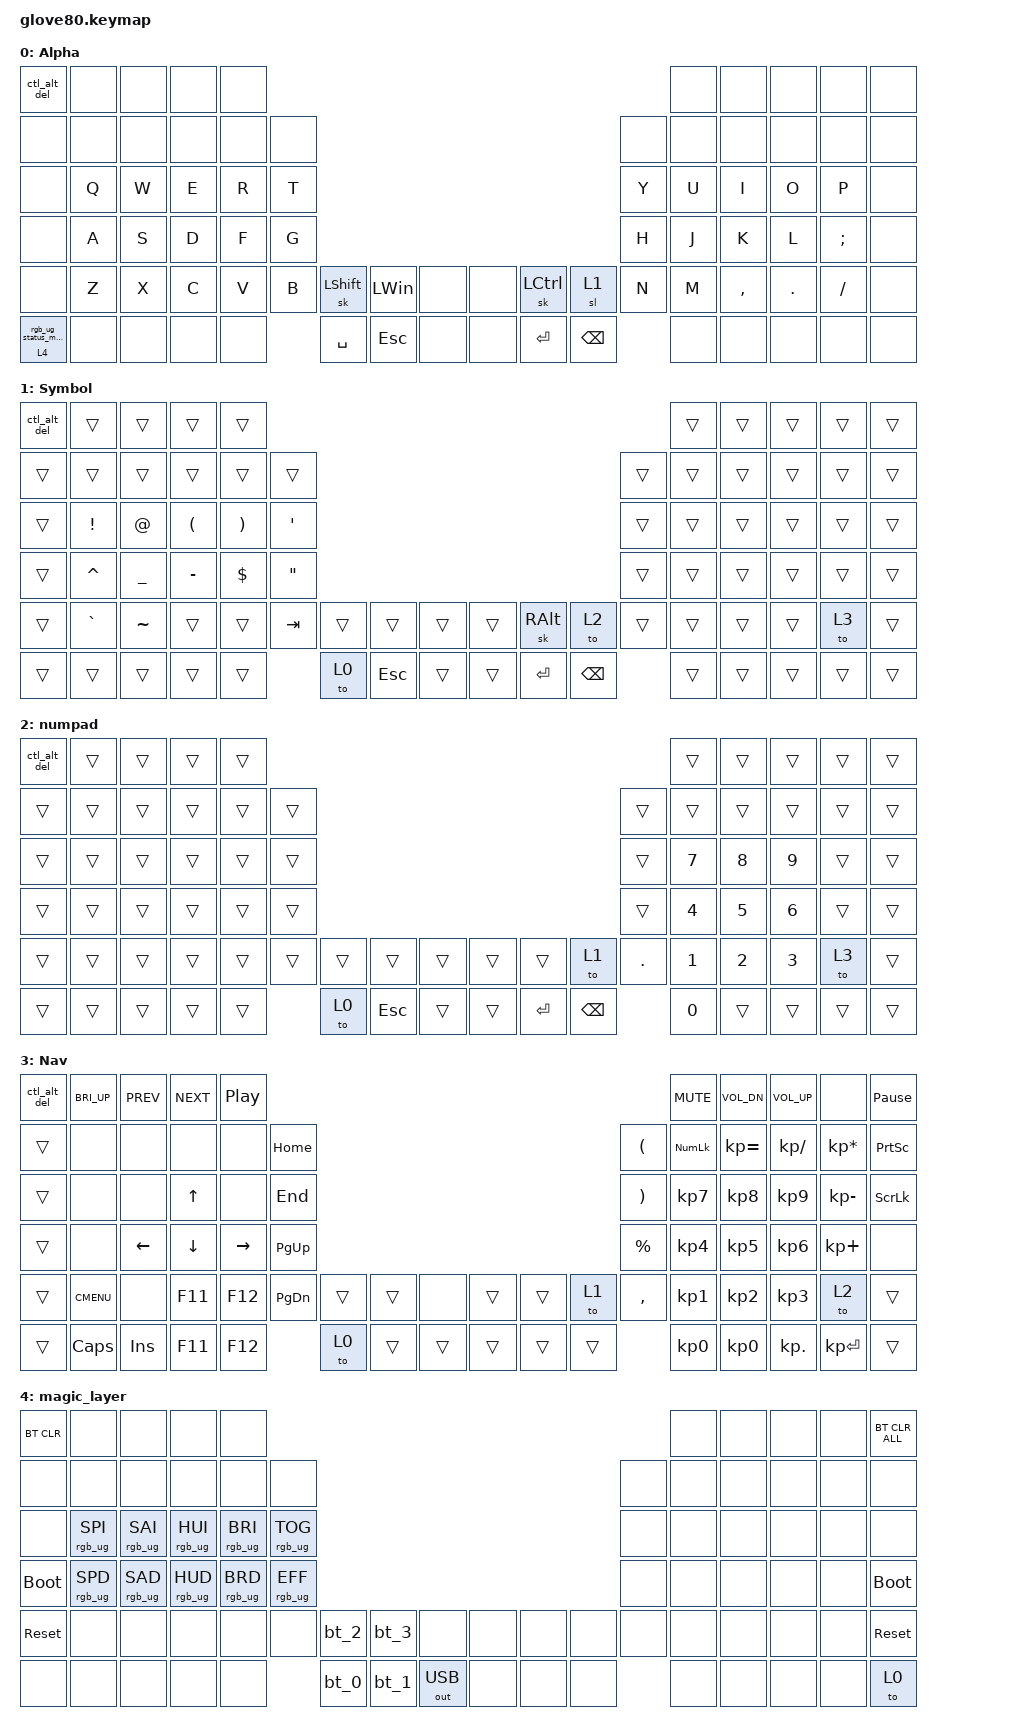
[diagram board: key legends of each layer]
/*
 * Copyright (c) 2020 The ZMK Contributors
 *
 * SPDX-License-Identifier: MIT
 */

#include <behaviors.dtsi>
#include <dt-bindings/zmk/bt.h>
#include <dt-bindings/zmk/keys.h>
#include <dt-bindings/zmk/outputs.h>
#include <dt-bindings/zmk/rgb.h>

#define HYPER LC(LS(LG(LALT)))

// layers

#define DEFAULT 0
#define LOWER 1
#define MAGIC 2
#define FACTORY_TEST 3

/ {
    behaviors {
        // For the "layer" key, it'd nice to be able to use it as either a shift or a toggle.
        // Configure it as a tap dance, so the first tap (or hold) is a &mo and the second tap is a &to

        layer_td: tap_dance_0 {
            compatible = "zmk,behavior-tap-dance";
            label = "LAYER_TAP_DANCE";
            #binding-cells = <0>;
            tapping-term-ms = <200>;
            bindings = <&mo 3>, <&to 3>;
        };

        magic: magic_hold_tap {
            compatible = "zmk,behavior-hold-tap";
            label = "MAGIC_HOLD_TAP";
            #binding-cells = <2>;
            flavor = "tap-preferred";
            tapping-term-ms = <200>;
            bindings = <&mo>, <&rgb_ug_status_macro>;
        };
    };

    macros {
        rgb_ug_status_macro: rgb_ug_status_macro_0 {
            label = "RGB_UG_STATUS";
            compatible = "zmk,behavior-macro";
            #binding-cells = <0>;
            bindings = <&rgb_ug RGB_STATUS>;
        };

        bt_0: bt_profile_macro_0 {
            label = "BT_0";
            compatible = "zmk,behavior-macro";
            #binding-cells = <0>;
            bindings = <&out OUT_BLE &bt BT_SEL 0>;
        };

        bt_1: bt_profile_macro_1 {
            label = "BT_1";
            compatible = "zmk,behavior-macro";
            #binding-cells = <0>;
            bindings = <&out OUT_BLE &bt BT_SEL 1>;
        };

        bt_2: bt_profile_macro_2 {
            label = "BT_2";
            compatible = "zmk,behavior-macro";
            #binding-cells = <0>;
            bindings = <&out OUT_BLE &bt BT_SEL 2>;
        };

        bt_3: bt_profile_macro_3 {
            label = "BT_3";
            compatible = "zmk,behavior-macro";
            #binding-cells = <0>;
            bindings = <&out OUT_BLE &bt BT_SEL 3>;
        };

        ctl_alt_del: ctl_alt_del {
            compatible = "zmk,behavior-macro";
            label = "CTL_ALT_DEL";
            #binding-cells = <0>;
            bindings = <&kp LEFT_CONTROL &kp LEFT_ALT &kp DELETE>;
        };
    };

    keymap {
        compatible = "zmk,keymap";

        Alpha {
            // ---------------------------------------------------------------------------------------------------------------------------------
            // |  F1   |  F2 |  F3 |  F4  |  F5  |                                                               |  F6   |  F7   |  F8  |   F9  |  F10 |
            // |  =    |  1  |  2  |  3   |  4   |  5   |                                                 |  6   |   7   |   8   |  9   |   0   |   -  |
            // |  TAB  |  Q  |  W  |  E   |  R   |  T   |                                                 |  Y   |   U   |   I   |  O   |   P   |   \  |
            // |  ESC  |  A  |  S  |  D   |  F   |  G   |                                                 |  H   |   J   |   K   |  L   |   ;   |   '  |
            // |   `   |  Z  |  X  |  C   |  V   |  B   | LSHFT | LCTRL | LOWER | | LGUI  | RCTRL | RSHFT |  N   |   M   |   ,   |  .   |   /   | PGUP |
            // | MAGIC | HOME| END | LEFT | RIGHT|      | BSPC  | DEL   | LALT  | | RALT  | RET   | SPACE |      |  UP   | DOWN  |  [   |   ]   | PGDN |

            bindings = <
&ctl_alt_del  &none  &none  &none  &none                                                                                             &none  &none      &none    &none     &none
&none         &none  &none  &none  &none  &none                                                                               &none  &none  &none      &none    &none     &none
&none         &kp Q  &kp W  &kp E  &kp R  &kp T                                                                               &kp Y  &kp U  &kp I      &kp O    &kp P     &none
&none         &kp A  &kp S  &kp D  &kp F  &kp G                                                                               &kp H  &kp J  &kp K      &kp L    &kp SEMI  &none
&none         &kp Z  &kp X  &kp C  &kp V  &kp B  &sk LEFT_SHIFT  &kp LEFT_WIN  &none  &none  &sk LEFT_CONTROL  &sl 1          &kp N  &kp M  &kp COMMA  &kp DOT  &kp FSLH  &none
&magic 4 0    &none  &none  &none  &none         &kp SPACE       &kp ESCAPE    &none  &none  &kp RET           &kp BACKSPACE         &none  &none      &none    &none     &none
            >;
        };

        Symbol {
            bindings = <
&ctl_alt_del  &trans     &trans     &trans                &trans                                                                                                              &trans  &trans  &trans  &trans  &trans
&trans        &trans     &trans     &trans                &trans                 &trans                                                                               &trans  &trans  &trans  &trans  &trans  &trans
&trans        &kp EXCL   &kp AT     &kp LEFT_PARENTHESIS  &kp RIGHT_PARENTHESIS  &kp SINGLE_QUOTE                                                                     &trans  &trans  &trans  &trans  &trans  &trans
&trans        &kp CARET  &kp UNDER  &kp MINUS             &kp DOLLAR             &kp DOUBLE_QUOTES                                                                    &trans  &trans  &trans  &trans  &trans  &trans
&trans        &kp GRAVE  &kp TILDE  &trans                &trans                 &kp TAB            &trans  &trans      &trans  &trans  &sk RIGHT_ALT  &to 2          &trans  &trans  &trans  &trans  &to 3   &trans
&trans        &trans     &trans     &trans                &trans                                    &to 0   &kp ESCAPE  &trans  &trans  &kp ENTER      &kp BACKSPACE          &trans  &trans  &trans  &trans  &trans
            >;
        };

        numpad {
            bindings = <
&ctl_alt_del  &trans  &trans  &trans  &trans                                                                         &trans        &trans  &trans  &trans  &trans
&trans        &trans  &trans  &trans  &trans  &trans                                                        &trans   &trans        &trans  &trans  &trans  &trans
&trans        &trans  &trans  &trans  &trans  &trans                                                        &trans   &kp N7        &kp N8  &kp N9  &trans  &trans
&trans        &trans  &trans  &trans  &trans  &trans                                                        &trans   &kp N4        &kp N5  &kp N6  &trans  &trans
&trans        &trans  &trans  &trans  &trans  &trans  &trans  &trans   &trans  &trans  &trans     &to 1     &kp DOT  &kp N1        &kp N2  &kp N3  &to 3   &trans
&trans        &trans  &trans  &trans  &trans          &to 0   &kp ESC  &trans  &trans  &kp ENTER  &kp BSPC           &kp NUMBER_0  &trans  &trans  &trans  &trans
            >;
        };

        Nav {
            bindings = <
&ctl_alt_del  &kp C_BRI_UP  &kp C_PREV  &kp C_NEXT  &kp C_PP                                                                         &kp C_MUTE  &kp C_VOL_DN  &kp C_VOL_UP   &none            &kp PAUSE_BREAK
&trans        &none         &none       &none       &none      &kp HOME                                                   &kp LPAR   &kp KP_NUM  &kp KP_EQUAL  &kp KP_DIVIDE  &kp KP_MULTIPLY  &kp PSCRN
&trans        &none         &none       &kp UP      &none      &kp END                                                    &kp RPAR   &kp KP_N7   &kp KP_N8     &kp KP_N9      &kp KP_MINUS     &kp SLCK
&trans        &none         &kp LEFT    &kp DOWN    &kp RIGHT  &kp PG_UP                                                  &kp PRCNT  &kp KP_N4   &kp KP_N5     &kp KP_N6      &kp KP_PLUS      &none
&trans        &kp K_CMENU   &none       &kp F11     &kp F12    &kp PG_DN  &trans  &trans  &none   &trans  &trans  &to 1   &kp COMMA  &kp KP_N1   &kp KP_N2     &kp KP_N3      &to 2            &trans
&trans        &kp CAPS      &kp INS     &kp F11     &kp F12               &to 0   &trans  &trans  &trans  &trans  &trans             &kp KP_N0   &kp KP_N0     &kp KP_DOT     &kp KP_ENTER     &trans
            >;
        };

        magic_layer {
            bindings = <
&bt BT_CLR   &none            &none            &none            &none                                                                                     &none  &none  &none  &none  &bt BT_CLR_ALL
&none        &none            &none            &none            &none            &none                                                             &none  &none  &none  &none  &none  &none
&none        &rgb_ug RGB_SPI  &rgb_ug RGB_SAI  &rgb_ug RGB_HUI  &rgb_ug RGB_BRI  &rgb_ug RGB_TOG                                                   &none  &none  &none  &none  &none  &none
&bootloader  &rgb_ug RGB_SPD  &rgb_ug RGB_SAD  &rgb_ug RGB_HUD  &rgb_ug RGB_BRD  &rgb_ug RGB_EFF                                                   &none  &none  &none  &none  &none  &bootloader
&sys_reset   &none            &none            &none            &none            &none            &bt_2  &bt_3  &none         &none  &none  &none  &none  &none  &none  &none  &none  &sys_reset
&none        &none            &none            &none            &none                             &bt_0  &bt_1  &out OUT_USB  &none  &none  &none         &none  &none  &none  &none  &to 0
            >;
        };
    };
};
